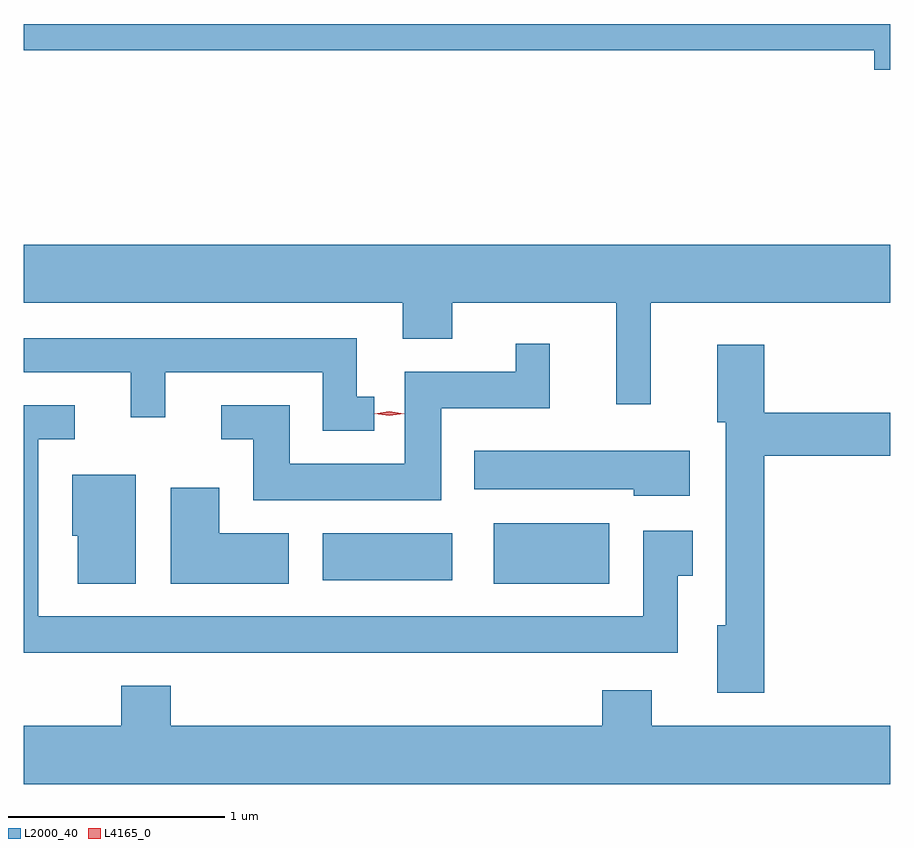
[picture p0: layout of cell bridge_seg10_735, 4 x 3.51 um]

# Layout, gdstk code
import gdstk
lib = gdstk.Library(unit=1e-6, precision=1e-09)
def R(c, l, rs):  # rectangles x0, y0, x1, y1
    for r in rs: c.add(gdstk.rectangle(r[:2], r[2:], *l))
def P(c, l, *ps):  # polygons
    for p in ps: c.add(gdstk.Polygon(p, *l))
L2000_40 = (2000, 40)
L4165_0 = (4165, 0)

bridge_seg10_735 = lib.new_cell('bridge_seg10_735')
R(bridge_seg10_735, L2000_40, [(587.581,2188.101,588.114,2188.379), (586.791,2188.116,587.389,2188.334)])
P(bridge_seg10_735, L2000_40, [(589.411,2190.683),(585.411,2190.683),(585.411,2190.561),(589.336,2190.561),(589.336,2190.471),(589.411,2190.471)],
  [(588.304,2189.396),(589.411,2189.396),(589.411,2189.664),(585.411,2189.664),(585.411,2189.396),(587.161,2189.396),(587.161,2189.231),(587.389,2189.231),(587.389,2189.396),(588.146,2189.396),(588.146,2188.928),(588.304,2188.928)],
  [(587.028,2188.964),(586.949,2188.964),(586.949,2189.234),(585.411,2189.234),(585.411,2189.076),(585.906,2189.076),(585.906,2188.868),(586.064,2188.868),(586.064,2189.076),(586.791,2189.076),(586.791,2188.806),(587.028,2188.806)],
  [(587.339,2188.911),(587.839,2188.911),(587.839,2189.208),(587.681,2189.208),(587.681,2189.079),(587.171,2189.079),(587.171,2188.654),(586.639,2188.654),(586.639,2188.924),(586.323,2188.924),(586.323,2188.766),(586.471,2188.766),(586.471,2188.486),(587.339,2188.486)],
  [(588.829,2188.691),(589.411,2188.691),(589.411,2188.889),(588.829,2188.889),(588.829,2189.204),(588.611,2189.204),(588.611,2188.846),(588.651,2188.846),(588.651,2187.909),(588.611,2187.909),(588.611,2187.596),(588.829,2187.596)],
  [(588.429,2188.136),(588.499,2188.136),(588.499,2188.344),(588.271,2188.344),(588.271,2187.949),(585.479,2187.949),(585.479,2188.766),(585.648,2188.766),(585.648,2188.924),(585.411,2188.924),(585.411,2187.781),(588.429,2187.781)],
  [(588.484,2188.714),(587.491,2188.714),(587.491,2188.536),(588.226,2188.536),(588.226,2188.506),(588.484,2188.506)],
  [(585.929,2188.604),(585.636,2188.604),(585.636,2188.321),(585.661,2188.321),(585.661,2188.101),(585.929,2188.101)],
  [(586.634,2188.334),(586.314,2188.334),(586.314,2188.544),(586.091,2188.544),(586.091,2188.101),(586.634,2188.101)],
  [(589.411,2187.444),(588.309,2187.444),(588.309,2187.609),(588.081,2187.609),(588.081,2187.444),(586.089,2187.444),(586.089,2187.629),(585.861,2187.629),(585.861,2187.444),(585.411,2187.444),(585.411,2187.176),(589.411,2187.176)])
P(bridge_seg10_735, L4165_0, [(587.098,2188.875),(587.029,2188.884),(587.029,2188.885),(587.029,2188.885),(587.098,2188.895),(587.168,2188.885),(587.168,2188.885),(587.168,2188.884)])

lib.write_gds('bridge_seg10_735.gds')
